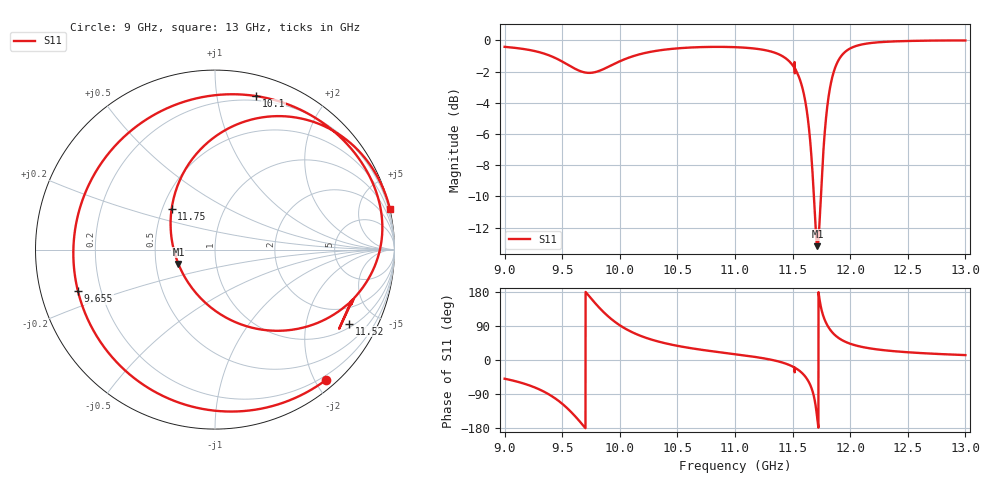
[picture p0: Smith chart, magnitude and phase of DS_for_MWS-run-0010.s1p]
! TOUCHSTONE file generated by CST DESIGN STUDIO
! Date and time: Tue Jan 28 13:43:22 2025
! Project name: C:\Work\MatlabApps\UnitCellOptimizationMatlab\CST\unitcell.cst
! Tree item: Tasks\Sweep1\SPara1\S-Parameters
! Header version: 2024
! Port assignment regex: !\s*Touchstone port\s*([0-9]+)\s*=\s*(CST MWS port|CST DES external port|CST DES block port)\s*(.+)\s* \(\"(.*)\"\)(\s*mode\s*([0-9]+))?.*
! Touchstone port assignment:
! Touchstone port 1 = CST DES external port 1 ("")
# GHz S MA R 50
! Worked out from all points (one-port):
!   4001 points, 9 GHz to 13 GHz, reference 50 ohm
!   lowest |S11| = -13.2 dB at 11.72 GHz (marker M1), VSWR 1.56, Z = 32.7 - j5.54 ohm
!   |S11| at or under -10 dB: 11.68 GHz to 11.75 GHz (60.14 MHz wide, 0.513 % of centre)
!   S11 on the Smith chart (normalised r, x): 9 GHz: 0.13, -2.17; 9.655 GHz: 0.11, -0.15; 10.1 GHz: 0.16, +1.29; 11.52 GHz: 1.17, -3.53; 11.75 GHz: 0.56, +0.29; 13 GHz: -0.00, +8.82
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9  0.9542 -49.4
9.264  0.9244 -72.7
9.398  0.8925 -93.2
9.5  0.8562 -115.5
9.575  0.8255 -136.5
9.655  0.798 -163.1
9.742  0.7873 165.5
9.84  0.804 132.2
10  0.8577 91.6
10.096  0.8857 75.0
10.275  0.9209 53.8
10.5  0.9434 37.4
11  0.9519 15.3
11.332  0.9172 -0.5
11.5  0.8332 -17.2
11.517  0.8531 -28.9
11.583  0.7096 -34.6
11.643  0.5189 -59.4
11.68  0.341 -89.7
11.716  0.219 -158.4
11.748  0.3322 136.6
11.792  0.5729 97.1
11.837  0.7426 75.6
11.911  0.8797 55.7
12  0.943 42.9
12.182  0.9817 30.2
12.5  0.9963 20.4
13  1 12.9
